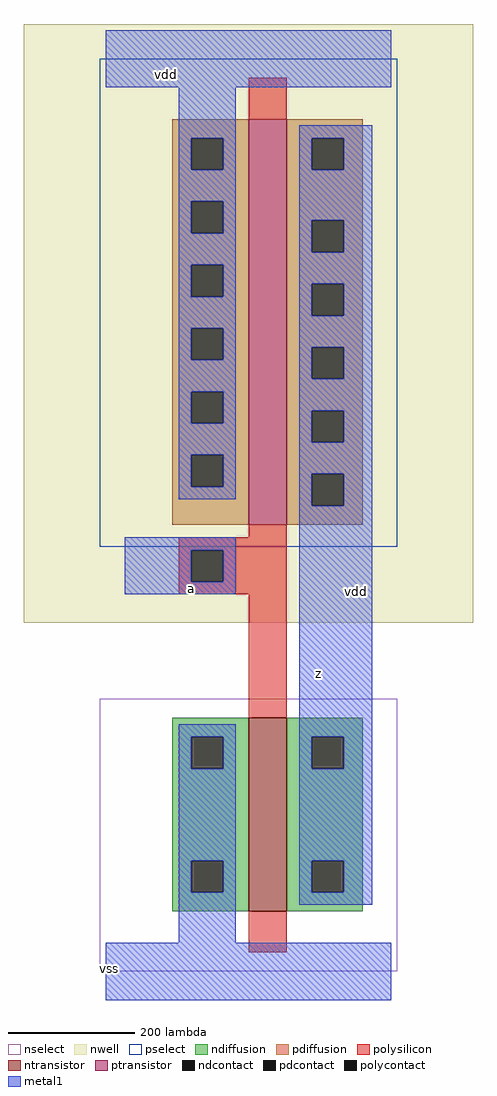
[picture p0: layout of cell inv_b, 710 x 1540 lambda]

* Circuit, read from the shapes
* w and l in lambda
.subckt inv_b z a vdd vss
M1 z a vss VSUBS nfet w=305 l=60
M2 z a vdd vdd pfet w=640 l=60
.ends

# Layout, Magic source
magic
tech amic5n
<< nwell >>
rect -130 550 580 1495
<< ntransistor >>
rect 225 95 285 400
<< ptransistor >>
rect 225 705 285 1345
<< nselect >>
rect -10 0 460 430
<< pselect >>
rect -10 670 460 1440
<< ndiffusion >>
rect 105 370 225 400
rect 105 320 135 370
rect 185 320 225 370
rect 105 175 225 320
rect 105 125 135 175
rect 185 125 225 175
rect 105 95 225 125
rect 285 370 405 400
rect 285 320 325 370
rect 375 320 405 370
rect 285 175 405 320
rect 285 125 325 175
rect 375 125 405 175
rect 285 95 405 125
<< pdiffusion >>
rect 105 1315 225 1345
rect 105 1265 135 1315
rect 185 1265 225 1315
rect 105 1215 225 1265
rect 105 1165 135 1215
rect 185 1165 225 1215
rect 105 1115 225 1165
rect 105 1065 135 1115
rect 185 1065 225 1115
rect 105 1015 225 1065
rect 105 965 135 1015
rect 185 965 225 1015
rect 105 915 225 965
rect 105 865 135 915
rect 185 865 225 915
rect 105 815 225 865
rect 105 765 135 815
rect 185 765 225 815
rect 105 705 225 765
rect 285 1315 405 1345
rect 285 1265 325 1315
rect 375 1265 405 1315
rect 285 1185 405 1265
rect 285 1135 325 1185
rect 375 1135 405 1185
rect 285 1085 405 1135
rect 285 1035 325 1085
rect 375 1035 405 1085
rect 285 985 405 1035
rect 285 935 325 985
rect 375 935 405 985
rect 285 885 405 935
rect 285 835 325 885
rect 375 835 405 885
rect 285 785 405 835
rect 285 735 325 785
rect 375 735 405 785
rect 285 705 405 735
<< ndcontact >>
rect 135 320 185 370
rect 135 125 185 175
rect 325 320 375 370
rect 325 125 375 175
<< pdcontact >>
rect 135 1265 185 1315
rect 135 1165 185 1215
rect 135 1065 185 1115
rect 135 965 185 1015
rect 135 865 185 915
rect 135 765 185 815
rect 325 1265 375 1315
rect 325 1135 375 1185
rect 325 1035 375 1085
rect 325 935 375 985
rect 325 835 375 885
rect 325 735 375 785
<< polysilicon >>
rect 225 1345 285 1410
rect 225 685 285 705
rect 115 665 285 685
rect 115 615 135 665
rect 185 615 285 665
rect 115 595 285 615
rect 225 400 285 595
rect 225 30 285 95
<< polycontact >>
rect 135 615 185 665
<< metal1 >>
rect 0 1395 450 1485
rect 115 1315 205 1395
rect 115 1265 135 1315
rect 185 1265 205 1315
rect 115 1215 205 1265
rect 115 1165 135 1215
rect 185 1165 205 1215
rect 115 1115 205 1165
rect 115 1065 135 1115
rect 185 1065 205 1115
rect 115 1015 205 1065
rect 115 965 135 1015
rect 185 965 205 1015
rect 115 915 205 965
rect 115 865 135 915
rect 185 865 205 915
rect 115 815 205 865
rect 115 765 135 815
rect 185 765 205 815
rect 115 745 205 765
rect 305 1315 420 1335
rect 305 1265 325 1315
rect 375 1265 420 1315
rect 305 1185 420 1265
rect 305 1135 325 1185
rect 375 1135 420 1185
rect 305 1085 420 1135
rect 305 1035 325 1085
rect 375 1035 420 1085
rect 305 985 420 1035
rect 305 935 325 985
rect 375 935 420 985
rect 305 885 420 935
rect 305 835 325 885
rect 375 835 420 885
rect 305 785 420 835
rect 305 735 325 785
rect 375 735 420 785
rect 30 665 205 685
rect 30 615 135 665
rect 185 615 205 665
rect 30 595 205 615
rect 115 370 205 390
rect 115 320 135 370
rect 185 320 205 370
rect 115 175 205 320
rect 115 125 135 175
rect 185 125 205 175
rect 115 45 205 125
rect 305 370 420 735
rect 305 320 325 370
rect 375 320 420 370
rect 305 175 420 320
rect 305 125 325 175
rect 375 125 420 175
rect 305 105 420 125
rect 0 -45 450 45
<< labels >>
flabel metal1 s 95 1415 95 1415 2 FreeSans 400 0 0 0 vdd
port 2 ne
flabel nwell 395 600 395 600 2 FreeSans 400 0 0 0 vdd
flabel metal1 s 335 470 335 470 2 FreeSans 400 0 0 0 z
port 0 ne
flabel metal1 s 5 5 5 5 2 FreeSans 400 0 0 0 vss
port 3 ne
flabel metal1 s 135 605 135 605 2 FreeSans 400 0 0 0 a
port 1 ne
<< properties >>
string LEFclass CORE
string LEFsite core
string FIXED_BBOX 0 0 450 1440
string LEFsymmetry X Y
<< end >>
